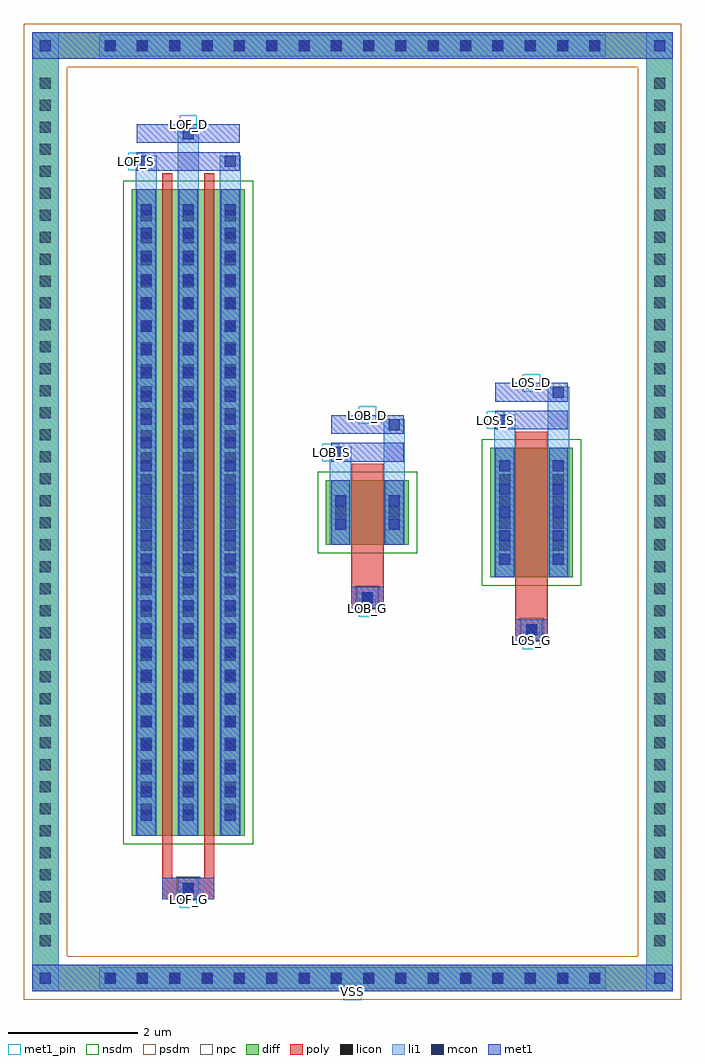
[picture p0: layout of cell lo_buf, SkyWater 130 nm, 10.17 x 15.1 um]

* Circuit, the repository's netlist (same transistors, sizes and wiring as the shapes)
.subckt lo_buf LOF_D LOF_G LOF_S LOB_D LOB_G LOB_S LOS_D LOS_G LOS_S VSS
XLOF LOF_D LOF_G LOF_S VSS sky130_fd_pr__nfet_01v8 W=20.0 L=0.15 nf=2 m=1
XLOB LOB_D LOB_G LOB_S VSS sky130_fd_pr__nfet_01v8 W=1.0 L=0.5 nf=1 m=1
XLOS LOS_D LOS_G LOS_S VSS sky130_fd_pr__nfet_01v8 W=2.0 L=0.5 nf=1 m=1
.ends lo_buf

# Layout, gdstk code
import gdstk
lib = gdstk.Library(unit=1e-6, precision=5e-09)
def R(c, l, rs):  # rectangles x0, y0, x1, y1
    for r in rs: c.add(gdstk.rectangle(r[:2], r[2:], *l))
def A(c, l, x, y, w, h, nx, ny, dx, dy):  # array of equal rectangles
    R(c, l, [(x+i*dx, y+j*dy, x+i*dx+w, y+j*dy+h) for i in range(nx) for j in range(ny)])
def P(c, l, *ps):  # polygons
    for p in ps: c.add(gdstk.Polygon(p, *l))
diff = (65, 20)
poly = (66, 20)
licon = (66, 44)
li1 = (67, 20)
mcon = (67, 44)
met1_pin = (68, 16)
met1 = (68, 20)
nsdm = (93, 44)
psdm = (94, 20)
npc = (95, 20)

lo_buf = lib.new_cell('lo_buf')
A(lo_buf, diff, -0.405, -7.405, 0.41, 0.41, 16, 2, 0.5, 14.42)
A(lo_buf, diff, -1.405, -6.825, 0.41, 0.41, 1, 40, 0, 0.34)
A(lo_buf, diff, 8.095, -6.825, 0.41, 0.41, 1, 40, 0, 0.34)
R(lo_buf, diff, [(-0.405,-7.405,7.505,-6.995), (-1.405,-6.825,-0.995,6.845), (8.095,-6.825,8.505,6.845), (0.135,-5,1.885,5), (5.68,-1,6.96,1), (3.14,-0.5,4.42,0.5), (-0.405,7.015,7.505,7.425)])
P(lo_buf, diff, [(8.505,7.425),(-1.405,7.425),(-1.405,-6.995),(-0.995,-6.995),(-0.995,7.015),(8.095,7.015),(8.095,-6.995),(-0.995,-6.995),(-1.405,-6.995),(-1.405,-7.405),(8.505,-7.405)])
R(lo_buf, poly, [(0.61,-5.98,1.41,-5.65), (0.845,-5.98,1.175,-5.65), (0.61,-5.65,0.76,-5.25), (1.26,-5.65,1.41,-5.25), (0.61,-5.25,0.76,5.25), (1.26,-5.25,1.41,5.25), (6.07,-1.98,6.57,-1.65), (6.155,-1.98,6.485,-1.65), (6.07,-1.65,6.57,-1.25), (3.53,-1.48,4.03,-1.15), (3.615,-1.48,3.945,-1.15), (6.07,-1.25,6.57,1.25), (3.53,-1.15,4.03,-0.75), (3.53,-0.75,4.03,0.75)])
A(lo_buf, licon, -0.285, -7.285, 0.17, 0.17, 16, 2, 0.5, 14.42)
A(lo_buf, licon, -1.285, -6.705, 0.17, 0.17, 1, 40, 0, 0.34)
A(lo_buf, licon, 8.215, -6.705, 0.17, 0.17, 1, 40, 0, 0.34)
A(lo_buf, licon, 0.275, -4.675, 0.17, 0.17, 3, 28, 0.65, 0.34)
A(lo_buf, licon, 5.82, -0.595, 0.17, 0.17, 1, 4, 0, 0.34)
A(lo_buf, licon, 6.65, -0.595, 0.17, 0.17, 1, 4, 0, 0.34)
R(lo_buf, licon, [(0.925,-5.9,1.095,-5.73), (6.235,-1.9,6.405,-1.73), (3.695,-1.4,3.865,-1.23), (3.28,-0.085,3.45,0.085), (4.11,-0.085,4.28,0.085)])
A(lo_buf, li1, -0.365, -7.365, 0.33, 0.33, 16, 2, 0.5, 14.42)
A(lo_buf, li1, -1.365, -6.785, 0.33, 0.33, 1, 40, 0, 0.34)
A(lo_buf, li1, 8.135, -6.785, 0.33, 0.33, 1, 40, 0, 0.34)
A(lo_buf, li1, 0.195, -5, 0.33, 10, 3, 1, 0.65, 0)
A(lo_buf, li1, 0.275, -4.765, 0.17, 0.17, 3, 27, 0.65, 0.36)
A(lo_buf, li1, 0.275, -4.765, 0.17, 9.53, 3, 1, 0.65, 0)
A(lo_buf, li1, 0.195, -4.755, 0.33, 0.33, 3, 28, 0.65, 0.34)
A(lo_buf, li1, 5.82, -0.805, 0.17, 0.17, 1, 5, 0, 0.36)
A(lo_buf, li1, 6.65, -0.805, 0.17, 0.17, 1, 5, 0, 0.36)
A(lo_buf, li1, 5.74, -0.675, 0.33, 0.33, 1, 4, 0, 0.34)
A(lo_buf, li1, 6.57, -0.675, 0.33, 0.33, 1, 4, 0, 0.34)
R(lo_buf, li1, [(-1.405,-7.405,-0.995,-6.995), (8.095,-7.405,8.505,-6.995), (-0.365,-7.365,7.465,-7.035), (-1.285,-7.285,-1.115,-7.115), (-1.285,-7.285,-1.115,-7.115), (8.215,-7.285,8.385,-7.115), (8.215,-7.285,8.385,-7.115), (-1.405,-6.995,-0.995,7.015), (8.095,-6.995,8.505,7.015), (0.845,-5.98,1.175,-5.65), (6.155,-1.98,6.485,-1.65), (3.615,-1.48,3.945,-1.15), (5.74,-1,6.07,1), (6.57,-1,6.9,1), (5.82,-0.805,5.99,0.805), (6.65,-0.805,6.82,0.805), (3.2,-0.5,3.53,0.5), (4.03,-0.5,4.36,0.5), (3.28,-0.265,3.45,-0.095), (3.28,-0.265,3.45,0.265), (4.11,-0.265,4.28,-0.095), (4.11,-0.265,4.28,0.265), (3.2,-0.165,3.53,0.165), (4.03,-0.165,4.36,0.165), (3.28,0.095,3.45,0.265), (4.11,0.095,4.28,0.265), (3.2,0.5,3.53,1.015), (4.03,0.5,4.36,1.445), (3.28,0.845,3.45,1.015), (5.74,1,6.07,1.515), (6.57,1,6.9,1.945), (4.11,1.275,4.28,1.445), (5.82,1.345,5.99,1.515), (6.65,1.775,6.82,1.945), (0.195,5,0.525,5.515), (0.845,5,1.175,5.945), (1.495,5,1.825,5.515), (0.275,5.345,0.445,5.515), (1.575,5.345,1.745,5.515), (0.925,5.775,1.095,5.945), (-1.405,7.015,-0.995,7.425), (8.095,7.015,8.505,7.425), (-0.365,7.055,7.465,7.385), (-1.285,7.135,-1.115,7.305), (-1.285,7.135,-1.115,7.305), (8.215,7.135,8.385,7.305), (8.215,7.135,8.385,7.305)])
A(lo_buf, mcon, -0.285, -7.285, 0.17, 0.17, 16, 2, 0.5, 14.42)
A(lo_buf, mcon, 0.275, -4.765, 0.17, 0.17, 3, 27, 0.65, 0.36)
A(lo_buf, mcon, 5.82, -0.805, 0.17, 0.17, 1, 5, 0, 0.36)
A(lo_buf, mcon, 6.65, -0.805, 0.17, 0.17, 1, 5, 0, 0.36)
R(lo_buf, mcon, [(-1.285,-7.285,-1.115,-7.115), (8.215,-7.285,8.385,-7.115), (0.925,-5.9,1.095,-5.73), (6.235,-1.9,6.405,-1.73), (3.695,-1.4,3.865,-1.23), (3.28,-0.265,3.45,-0.095), (4.11,-0.265,4.28,-0.095), (3.28,0.095,3.45,0.265), (4.11,0.095,4.28,0.265), (3.28,0.845,3.45,1.015), (4.11,1.275,4.28,1.445), (5.82,1.345,5.99,1.515), (6.65,1.775,6.82,1.945), (0.275,5.345,0.445,5.515), (1.575,5.345,1.745,5.515), (0.925,5.775,1.095,5.945), (-1.285,7.135,-1.115,7.305), (8.215,7.135,8.385,7.305)])
R(lo_buf, met1_pin, [(3.415,-7.54,3.685,-7.27), (0.875,-6.115,1.145,-5.845), (6.185,-2.115,6.455,-1.845), (3.645,-1.615,3.915,-1.345), (3.085,0.795,3.355,1.065), (5.625,1.295,5.895,1.565), (3.645,1.37,3.915,1.64), (6.185,1.87,6.455,2.14), (0.08,5.295,0.35,5.565), (0.875,5.87,1.145,6.14)])
A(lo_buf, met1, -0.345, -7.345, 0.29, 0.29, 16, 2, 0.5, 14.42)
A(lo_buf, met1, 0.215, -5, 0.29, 10, 3, 1, 0.65, 0)
A(lo_buf, met1, 0.215, -4.825, 0.29, 0.29, 3, 27, 0.65, 0.36)
A(lo_buf, met1, 5.76, -0.865, 0.29, 0.29, 1, 5, 0, 0.36)
A(lo_buf, met1, 6.59, -0.865, 0.29, 0.29, 1, 5, 0, 0.36)
R(lo_buf, met1, [(-1.405,-7.405,-0.995,-6.995), (-1.405,-7.405,-0.995,-6.995), (-0.995,-7.405,8.095,-6.995), (8.095,-7.405,8.505,-6.995), (8.095,-7.405,8.505,-6.995), (-1.345,-7.345,-1.055,-7.055), (8.155,-7.345,8.445,-7.055), (0.61,-5.98,1.41,-5.65), (0.865,-5.96,1.155,-5.67), (6.07,-1.98,6.57,-1.65), (6.175,-1.96,6.465,-1.67), (3.53,-1.48,4.03,-1.15), (3.635,-1.46,3.925,-1.17), (5.76,-1,6.05,1), (6.59,-1,6.88,1), (3.22,-0.5,3.51,0.5), (4.05,-0.5,4.34,0.5), (3.22,-0.325,3.51,-0.035), (4.05,-0.325,4.34,-0.035), (3.22,0.035,3.51,0.325), (4.05,0.035,4.34,0.325), (3.22,0.785,3.51,1.075), (3.22,0.785,4.34,1.075), (3.22,1.215,4.34,1.505), (4.05,1.215,4.34,1.505), (5.76,1.285,6.05,1.575), (5.76,1.285,6.88,1.575), (5.76,1.715,6.88,2.005), (6.59,1.715,6.88,2.005), (0.215,5.285,0.505,5.575), (0.215,5.285,1.805,5.575), (1.515,5.285,1.805,5.575), (0.215,5.715,1.805,6.005), (0.865,5.715,1.155,6.005), (-1.405,7.015,-0.995,7.425), (-1.405,7.015,-0.995,7.425), (-0.995,7.015,8.095,7.425), (8.095,7.015,8.505,7.425), (8.095,7.015,8.505,7.425), (-1.345,7.075,-1.055,7.365), (8.155,7.075,8.445,7.365)])
R(lo_buf, nsdm, [(0.005,-5.13,2.015,5.13), (5.55,-1.13,7.09,1.13), (3.01,-0.63,4.55,0.63)])
P(lo_buf, psdm, [(8.635,7.555),(-1.535,7.555),(-1.535,-6.865),(-0.865,-6.865),(-0.865,6.885),(7.965,6.885),(7.965,-6.865),(-0.865,-6.865),(-1.535,-6.865),(-1.535,-7.535),(8.635,-7.535)])
R(lo_buf, npc, [(0.825,-6,1.195,-5.63), (0.825,-6,1.195,-5.63), (6.135,-2,6.505,-1.63), (6.135,-2,6.505,-1.63), (3.595,-1.5,3.965,-1.13), (3.595,-1.5,3.965,-1.13)])
lo_buf.add(gdstk.Label('LOS_G', (6.32,-1.98), layer=68, texttype=5))
lo_buf.add(gdstk.Label('LOS_S', (5.76,1.43), layer=68, texttype=5))
lo_buf.add(gdstk.Label('LOS_D', (6.32,2.005), layer=68, texttype=5))
lo_buf.add(gdstk.Label('LOB_G', (3.78,-1.48), layer=68, texttype=5))
lo_buf.add(gdstk.Label('LOB_S', (3.22,0.93), layer=68, texttype=5))
lo_buf.add(gdstk.Label('LOB_D', (3.78,1.505), layer=68, texttype=5))
lo_buf.add(gdstk.Label('LOF_G', (1.01,-5.98), layer=68, texttype=5))
lo_buf.add(gdstk.Label('LOF_S', (0.215,5.43), layer=68, texttype=5))
lo_buf.add(gdstk.Label('LOF_D', (1.01,6.005), layer=68, texttype=5))
lo_buf.add(gdstk.Label('VSS', (3.55,-7.405), layer=68, texttype=5))

lib.write_gds('lo_buf.gds')
